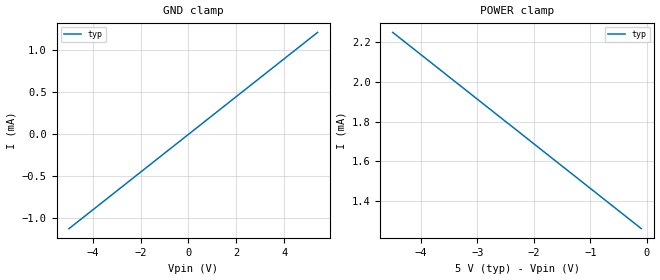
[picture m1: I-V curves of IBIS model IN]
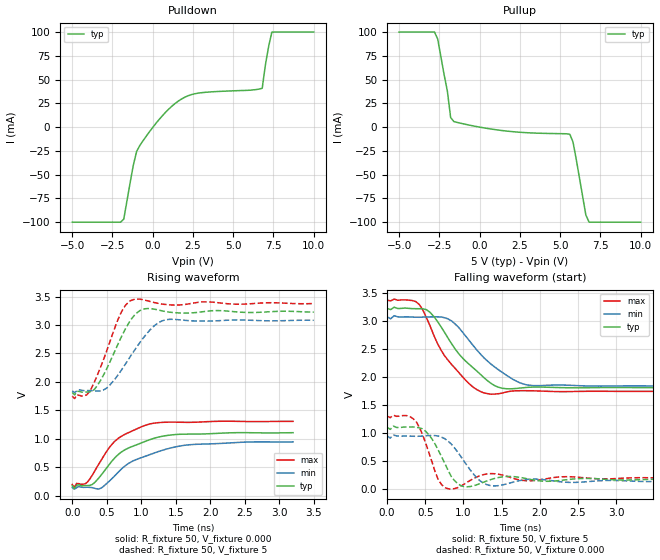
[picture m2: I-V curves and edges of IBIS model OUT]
[IBIS ver]   3.2
[File name]   sample_device_clamp_ref.ibs
[File Rev]   0
[Date]   23/01/2021
[Source]   Company_ABC, data taken from a variety of IBIS files
[Copyright]   None - public sample
|   Component ABC123
[Component]   ABC123
[Manufacturer]   Company_ABC
[Package]
| variable   typ   min   max
R_pkg   46.4m   43.4m   53.1m
L_pkg   2.80nH   1.97nH   2.99nH
C_pkg   0.329pF   0.237pF   0.382pF
[Pin]  signal_name   model_name   R_pin   L_pin   C_pin
1   IN   IN
2   OUT   OUT
3   GND   GND
4   VCC   POWER
| Models and submodels in the file (2): IN (Input), OUT (Output)
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|   Model IN
[Model]   IN
|Signals   R1IN, R2IN
Model_type   Input
Enable   Active-High
Vinl = 0.8V
Vinh = 2.0V
C_comp   0.96pF   0.53pF   1.60pF
[Temperature Range]   25   -40   85
[Voltage Range]   5.00V   4.50V   5.50V
[Pullup Reference]   5.00V   4.50V   5.50V
[Pulldown Reference]   0.00V   0.00V   0.00V
[POWER Clamp Reference]   5.00V   4.50V   5.50V
[GND Clamp Reference]   0.00V   0.00V   0.00V
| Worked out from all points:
|   GND clamp passes 1 mA (typ) near -4.44 V on its own axis
[POWER_clamp]
| V(V)  I(typ)   I(min)  I(max)
-4.5V     2.25mA     NA         NA
-2.3V     1.755mA    NA         NA
-1.7V     1.62mA     NA         NA
-100mV    1.26mA     NA         NA
[GND_clamp]
| V(V)  I(typ)   I(min)  I(max)
-5V       -1.127mA   NA         NA
-1V       -226.5uA   NA         NA
5V        1.125mA    NA         NA
5.4V      1.215mA    NA         NA
|   Model OUT
[Model]   OUT
Model_type   Output
Polarity   Non-Inverting
Vmeas = 2.5V
C_comp   0.83pF   0.57pF   1.46pF
[Temperature Range]   25   -40   125
[Voltage Range]   5.00V   4.50V   5.50V
[Pullup Reference]   5.00V   4.50V   5.50V
[Pulldown Reference]   0.00V   0.00V   0.00V
[POWER Clamp Reference]   5.00V   4.50V   5.50V
[GND Clamp Reference]   0.00V   0.00V   0.00V
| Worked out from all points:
|   slope of the pulldown table from 0 to 0.75 V, typ, clamps not added: 49.8 ohm
|   slope of the pullup table from 0 to 0.75 V, typ, clamps not added: 357 ohm
|   rising waveform, R_fixture 50, V_fixture 0.000: 20-80 % time 570ps typ, 695ps min, 456ps max; typ from 0.171 V to 1.11 V
|   rising waveform, R_fixture 50, V_fixture 5: 20-80 % time 333ps typ, 427ps min, 300ps max; typ from 1.81 V to 3.23 V
|   falling waveform, R_fixture 50, V_fixture 5: 20-80 % time 501ps typ, 532ps min, 427ps max; typ from 3.23 V to 1.81 V
|   falling waveform, R_fixture 50, V_fixture 0.000: 20-80 % time 216ps typ, 260ps min, 175ps max; typ from 1.1 V to 0.168 V
[Pullup]
| V(V)  I(typ)   I(min)  I(max)
-5V       100mA      NA         NA
-2.8V     100mA      NA         NA
-2.6V     92.52mA    NA         NA
-2V       37.69mA    NA         NA
-1.8V     10.16mA    NA         NA
-1.6V     5.869mA    NA         NA
1.8V      -4.34mA    NA         NA
5.6V      -7.401mA   NA         NA
5.8V      -15.56mA   NA         NA
6.6V      -92.54mA   NA         NA
6.8V      -100mA     NA         NA
10V       -100mA     NA         NA
[Pulldown]
| V(V)  I(typ)   I(min)  I(max)
-5V       -100mA     NA         NA
-2V       -100mA     NA         NA
-1.8V     -96.79mA   NA         NA
-1.2V     -39.62mA   NA         NA
-1V       -25.53mA   NA         NA
0V        -313uA     NA         NA
1V        19.07mA    NA         NA
2.6V      35.07mA    NA         NA
6.8V      40.91mA    NA         NA
7V        65.78mA    NA         NA
7.4V      100mA      NA         NA
10V       100mA      NA         NA
[Ramp]
| variable   typ   min   max
dV/dt_r   90.66V/1uS   47.56V/1uS   145.01V/1uS
dV/dt_f   17.90V/1uS   10.06V/1uS   24.83V/1uS
R_load = 50
[Rising Waveform]
R_fixture   = 50
V_fixture   = 0.000
V_fixture_min   = 0.000
V_fixture_max   = 0.000
|  time   V(typ)   V(min)   V(max)
0s        170.7mV    140.2mV    194.4mV
32ps      123mV      112.3mV    146.7mV
192ps     175.3mV    145.5mV    210mV
288ps     193.3mV    138.8mV    353mV
416ps     355mV      129.3mV    614.8mV
672ps     726.3mV    417.5mV    1.01V
864ps     860.4mV    598.5mV    1.133V
1.12ns    981mV      717.9mV    1.258V
1.696ns   1.08V      893.2mV    1.288V
3.2ns     1.106V     943.9mV    1.305V
[Rising Waveform]
R_fixture   = 50
V_fixture   = 5
V_fixture_min   = 4.5
V_fixture_max   = 5.5
|  time   V(typ)   V(min)   V(max)
0s        1.814V     1.841V     1.747V
210ps     1.821V     1.847V     1.772V
315ps     1.859V     1.841V     1.98V
490ps     2.205V     1.882V     2.511V
700ps     2.76V      2.184V     3.198V
875ps     3.132V     2.506V     3.442V
1.05ns    3.284V     2.803V     3.438V
1.19ns    3.278V     2.987V     3.394V
1.365ns   3.234V     3.092V     3.358V
3.5ns     3.226V     3.082V     3.377V
[Falling Waveform]
R_fixture   = 50
V_fixture   = 5
V_fixture_min   = 4.5
V_fixture_max   = 5.5
|  time   V(typ)   V(min)   V(max)
0s        3.232V     3.079V     3.38V
376ps     3.226V     3.074V     3.354V
517ps     3.208V     3.078V     3.061V
752ps     2.805V     3.065V     2.387V
940ps     2.418V     2.888V     2.084V
1.128ns   2.167V     2.567V     1.822V
1.269ns   1.992V     2.347V     1.718V
1.504ns   1.804V     2.09V      1.715V
1.88ns    1.822V     1.854V     1.757V
4.7ns     1.814V     1.842V     1.747V
[Falling Waveform]
R_fixture   = 50
V_fixture   = 0.000
V_fixture_min   = 0.000
V_fixture_max   = 0.000
|  time   V(typ)   V(min)   V(max)
0s        1.105V     949.6mV    1.304V
378ps     1.107V     942.2mV    1.213V
504ps     1.034V     951.9mV    828.2mV
672ps     691mV      945.9mV    162.8mV
798ps     337.1mV    857.3mV    5.697mV
1.008ns   43.43mV    498.3mV    85.09mV
1.176ns   75.59mV    198.2mV    215.2mV
1.344ns   161.9mV    63.19mV    274mV
1.848ns   178.6mV    172.7mV    145.6mV
4.2ns     167.6mV    140.3mV    196.4mV
